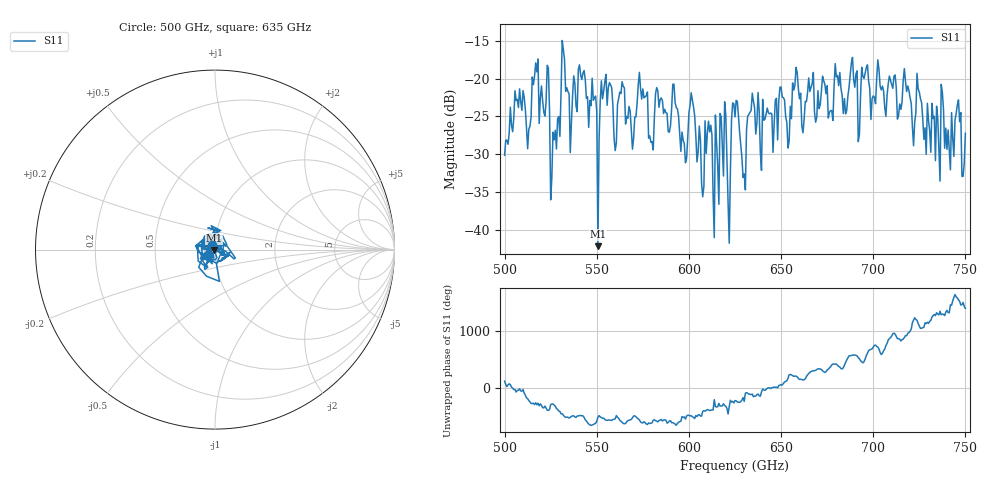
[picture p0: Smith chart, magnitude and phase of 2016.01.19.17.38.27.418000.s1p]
!Created with skrf (http://scikit-rf.org).
# GHz S RI R 50.0
!freq ReS11 ImS11
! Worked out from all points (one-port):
!   401 points, 500 GHz to 750 GHz, reference 50 ohm
!   lowest |S11| = -42.2 dB at 550.6 GHz (marker M1), VSWR 1.02, Z = 49.4 - j0.447 ohm
!   |S11| at or under -10 dB: start of sweep to end of sweep
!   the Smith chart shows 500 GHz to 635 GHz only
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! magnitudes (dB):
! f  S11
! 500 GHz  -30.2
! 506.9 GHz  -22.7
! 513.1 GHz  -26.7
! 516.9 GHz  -17.9
! 523.1 GHz  -18.2
! 526.2 GHz  -27.1
! 531.2 GHz  -15.0
! 535.6 GHz  -29.8
! 541.9 GHz  -20.1
! 550.6 GHz  -42.2
! 553.8 GHz  -21.6
! 560 GHz  -29.5
! 562.5 GHz  -21.8
! 570 GHz  -27.9
! 573.8 GHz  -21.3
! 579.4 GHz  -28.5
! 583.1 GHz  -21.6
! 593.8 GHz  -24.0
! 615 GHz  -28.5
! 618.8 GHz  -32.9
! 621.9 GHz  -41.8
! 625 GHz  -25.1
! 629.4 GHz  -33.1
! 633.8 GHz  -24.2
! 656.2 GHz  -20.6
! 687.5 GHz  -19.6
! 718.8 GHz  -21.0
! 750 GHz  -27.3
